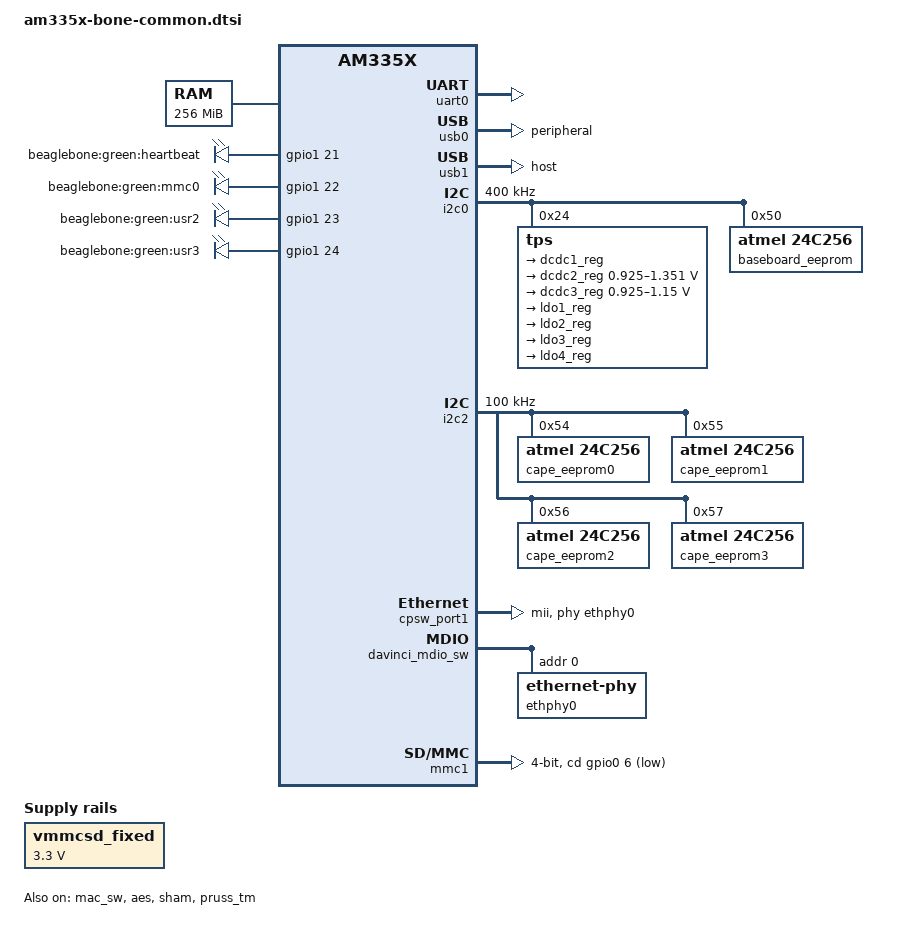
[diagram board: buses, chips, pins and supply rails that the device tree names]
// SPDX-License-Identifier: GPL-2.0-only
/*
 * Copyright (C) 2012 Texas Instruments Incorporated - https://www.ti.com/
 */

/ {
	cpus {
		cpu@0 {
			cpu0-supply = <&dcdc2_reg>;
		};
	};

	memory@80000000 {
		device_type = "memory";
		reg = <0x80000000 0x10000000>; /* 256 MB */
	};

	chosen {
		stdout-path = &uart0;
	};

	leds {
		pinctrl-names = "default";
		pinctrl-0 = <&user_leds_s0>;

		compatible = "gpio-leds";

		led2 {
			label = "beaglebone:green:heartbeat";
			gpios = <&gpio1 21 GPIO_ACTIVE_HIGH>;
			linux,default-trigger = "heartbeat";
			default-state = "off";
		};

		led3 {
			label = "beaglebone:green:mmc0";
			gpios = <&gpio1 22 GPIO_ACTIVE_HIGH>;
			linux,default-trigger = "mmc0";
			default-state = "off";
		};

		led4 {
			label = "beaglebone:green:usr2";
			gpios = <&gpio1 23 GPIO_ACTIVE_HIGH>;
			linux,default-trigger = "cpu0";
			default-state = "off";
		};

		led5 {
			label = "beaglebone:green:usr3";
			gpios = <&gpio1 24 GPIO_ACTIVE_HIGH>;
			linux,default-trigger = "mmc1";
			default-state = "off";
		};
	};

	vmmcsd_fixed: fixedregulator0 {
		compatible = "regulator-fixed";
		regulator-name = "vmmcsd_fixed";
		regulator-min-microvolt = <3300000>;
		regulator-max-microvolt = <3300000>;
	};
};

&am33xx_pinmux {
	pinctrl-names = "default";
	pinctrl-0 = <&clkout2_pin>;

	user_leds_s0: user_leds_s0 {
		pinctrl-single,pins = <
			AM33XX_PADCONF(AM335X_PIN_GPMC_A5, PIN_OUTPUT_PULLDOWN, MUX_MODE7)	/* gpmc_a5.gpio1_21 */
			AM33XX_PADCONF(AM335X_PIN_GPMC_A6, PIN_OUTPUT_PULLUP, MUX_MODE7)	/* gpmc_a6.gpio1_22 */
			AM33XX_PADCONF(AM335X_PIN_GPMC_A7, PIN_OUTPUT_PULLDOWN, MUX_MODE7)	/* gpmc_a7.gpio1_23 */
			AM33XX_PADCONF(AM335X_PIN_GPMC_A8, PIN_OUTPUT_PULLUP, MUX_MODE7)	/* gpmc_a8.gpio1_24 */
		>;
	};

	i2c0_pins: pinmux_i2c0_pins {
		pinctrl-single,pins = <
			AM33XX_PADCONF(AM335X_PIN_I2C0_SDA, PIN_INPUT_PULLUP, MUX_MODE0)	/* i2c0_sda.i2c0_sda */
			AM33XX_PADCONF(AM335X_PIN_I2C0_SCL, PIN_INPUT_PULLUP, MUX_MODE0)	/* i2c0_scl.i2c0_scl */
		>;
	};

	i2c2_pins: pinmux_i2c2_pins {
		pinctrl-single,pins = <
			AM33XX_PADCONF(AM335X_PIN_UART1_CTSN, PIN_INPUT_PULLUP, MUX_MODE3)	/* uart1_ctsn.i2c2_sda */
			AM33XX_PADCONF(AM335X_PIN_UART1_RTSN, PIN_INPUT_PULLUP, MUX_MODE3)	/* uart1_rtsn.i2c2_scl */
		>;
	};

	uart0_pins: pinmux_uart0_pins {
		pinctrl-single,pins = <
			AM33XX_PADCONF(AM335X_PIN_UART0_RXD, PIN_INPUT_PULLUP, MUX_MODE0)
			AM33XX_PADCONF(AM335X_PIN_UART0_TXD, PIN_OUTPUT_PULLDOWN, MUX_MODE0)
		>;
	};

	clkout2_pin: pinmux_clkout2_pin {
		pinctrl-single,pins = <
			AM33XX_PADCONF(AM335X_PIN_XDMA_EVENT_INTR1, PIN_OUTPUT_PULLDOWN, MUX_MODE3)	/* xdma_event_intr1.clkout2 */
		>;
	};

	cpsw_default: cpsw_default {
		pinctrl-single,pins = <
			/* Slave 1 */
			AM33XX_PADCONF(AM335X_PIN_MII1_RX_ER, PIN_INPUT_PULLUP, MUX_MODE0)
			AM33XX_PADCONF(AM335X_PIN_MII1_TX_EN, PIN_OUTPUT_PULLDOWN, MUX_MODE0)
			AM33XX_PADCONF(AM335X_PIN_MII1_RX_DV, PIN_INPUT_PULLUP, MUX_MODE0)
			AM33XX_PADCONF(AM335X_PIN_MII1_TXD3, PIN_OUTPUT_PULLDOWN, MUX_MODE0)
			AM33XX_PADCONF(AM335X_PIN_MII1_TXD2, PIN_OUTPUT_PULLDOWN, MUX_MODE0)
			AM33XX_PADCONF(AM335X_PIN_MII1_TXD1, PIN_OUTPUT_PULLDOWN, MUX_MODE0)
			AM33XX_PADCONF(AM335X_PIN_MII1_TXD0, PIN_OUTPUT_PULLDOWN, MUX_MODE0)
			AM33XX_PADCONF(AM335X_PIN_MII1_TX_CLK, PIN_INPUT_PULLUP, MUX_MODE0)
			AM33XX_PADCONF(AM335X_PIN_MII1_RX_CLK, PIN_INPUT_PULLUP, MUX_MODE0)
			AM33XX_PADCONF(AM335X_PIN_MII1_RXD3, PIN_INPUT_PULLUP, MUX_MODE0)
			AM33XX_PADCONF(AM335X_PIN_MII1_RXD2, PIN_INPUT_PULLUP, MUX_MODE0)
			AM33XX_PADCONF(AM335X_PIN_MII1_RXD1, PIN_INPUT_PULLUP, MUX_MODE0)
			AM33XX_PADCONF(AM335X_PIN_MII1_RXD0, PIN_INPUT_PULLUP, MUX_MODE0)
		>;
	};

	cpsw_sleep: cpsw_sleep {
		pinctrl-single,pins = <
			/* Slave 1 reset value */
			AM33XX_PADCONF(AM335X_PIN_MII1_RX_ER, PIN_INPUT_PULLDOWN, MUX_MODE7)
			AM33XX_PADCONF(AM335X_PIN_MII1_TX_EN, PIN_INPUT_PULLDOWN, MUX_MODE7)
			AM33XX_PADCONF(AM335X_PIN_MII1_RX_DV, PIN_INPUT_PULLDOWN, MUX_MODE7)
			AM33XX_PADCONF(AM335X_PIN_MII1_TXD3, PIN_INPUT_PULLDOWN, MUX_MODE7)
			AM33XX_PADCONF(AM335X_PIN_MII1_TXD2, PIN_INPUT_PULLDOWN, MUX_MODE7)
			AM33XX_PADCONF(AM335X_PIN_MII1_TXD1, PIN_INPUT_PULLDOWN, MUX_MODE7)
			AM33XX_PADCONF(AM335X_PIN_MII1_TXD0, PIN_INPUT_PULLDOWN, MUX_MODE7)
			AM33XX_PADCONF(AM335X_PIN_MII1_TX_CLK, PIN_INPUT_PULLDOWN, MUX_MODE7)
			AM33XX_PADCONF(AM335X_PIN_MII1_RX_CLK, PIN_INPUT_PULLDOWN, MUX_MODE7)
			AM33XX_PADCONF(AM335X_PIN_MII1_RXD3, PIN_INPUT_PULLDOWN, MUX_MODE7)
			AM33XX_PADCONF(AM335X_PIN_MII1_RXD2, PIN_INPUT_PULLDOWN, MUX_MODE7)
			AM33XX_PADCONF(AM335X_PIN_MII1_RXD1, PIN_INPUT_PULLDOWN, MUX_MODE7)
			AM33XX_PADCONF(AM335X_PIN_MII1_RXD0, PIN_INPUT_PULLDOWN, MUX_MODE7)
		>;
	};

	davinci_mdio_default: davinci_mdio_default {
		pinctrl-single,pins = <
			/* MDIO */
			AM33XX_PADCONF(AM335X_PIN_MDIO, PIN_INPUT_PULLUP | SLEWCTRL_FAST, MUX_MODE0)
			AM33XX_PADCONF(AM335X_PIN_MDC, PIN_OUTPUT_PULLUP, MUX_MODE0)
		>;
	};

	davinci_mdio_sleep: davinci_mdio_sleep {
		pinctrl-single,pins = <
			/* MDIO reset value */
			AM33XX_PADCONF(AM335X_PIN_MDIO, PIN_INPUT_PULLDOWN, MUX_MODE7)
			AM33XX_PADCONF(AM335X_PIN_MDC, PIN_INPUT_PULLDOWN, MUX_MODE7)
		>;
	};

	mmc1_pins: pinmux_mmc1_pins {
		pinctrl-single,pins = <
			AM33XX_PADCONF(AM335X_PIN_SPI0_CS1, PIN_INPUT, MUX_MODE7)		/* spio0_cs1.gpio0_6 */
			AM33XX_PADCONF(AM335X_PIN_MMC0_DAT0, PIN_INPUT_PULLUP, MUX_MODE0)
			AM33XX_PADCONF(AM335X_PIN_MMC0_DAT1, PIN_INPUT_PULLUP, MUX_MODE0)
			AM33XX_PADCONF(AM335X_PIN_MMC0_DAT2, PIN_INPUT_PULLUP, MUX_MODE0)
			AM33XX_PADCONF(AM335X_PIN_MMC0_DAT3, PIN_INPUT_PULLUP, MUX_MODE0)
			AM33XX_PADCONF(AM335X_PIN_MMC0_CMD, PIN_INPUT_PULLUP, MUX_MODE0)
			AM33XX_PADCONF(AM335X_PIN_MMC0_CLK, PIN_INPUT_PULLUP, MUX_MODE0)
		>;
	};

	emmc_pins: pinmux_emmc_pins {
		pinctrl-single,pins = <
			AM33XX_PADCONF(AM335X_PIN_GPMC_CSN1, PIN_INPUT_PULLUP, MUX_MODE2) /* gpmc_csn1.mmc1_clk */
			AM33XX_PADCONF(AM335X_PIN_GPMC_CSN2, PIN_INPUT_PULLUP, MUX_MODE2) /* gpmc_csn2.mmc1_cmd */
			AM33XX_PADCONF(AM335X_PIN_GPMC_AD0, PIN_INPUT_PULLUP, MUX_MODE1) /* gpmc_ad0.mmc1_dat0 */
			AM33XX_PADCONF(AM335X_PIN_GPMC_AD1, PIN_INPUT_PULLUP, MUX_MODE1) /* gpmc_ad1.mmc1_dat1 */
			AM33XX_PADCONF(AM335X_PIN_GPMC_AD2, PIN_INPUT_PULLUP, MUX_MODE1) /* gpmc_ad2.mmc1_dat2 */
			AM33XX_PADCONF(AM335X_PIN_GPMC_AD3, PIN_INPUT_PULLUP, MUX_MODE1) /* gpmc_ad3.mmc1_dat3 */
			AM33XX_PADCONF(AM335X_PIN_GPMC_AD4, PIN_INPUT_PULLUP, MUX_MODE1) /* gpmc_ad4.mmc1_dat4 */
			AM33XX_PADCONF(AM335X_PIN_GPMC_AD5, PIN_INPUT_PULLUP, MUX_MODE1) /* gpmc_ad5.mmc1_dat5 */
			AM33XX_PADCONF(AM335X_PIN_GPMC_AD6, PIN_INPUT_PULLUP, MUX_MODE1) /* gpmc_ad6.mmc1_dat6 */
			AM33XX_PADCONF(AM335X_PIN_GPMC_AD7, PIN_INPUT_PULLUP, MUX_MODE1) /* gpmc_ad7.mmc1_dat7 */
		>;
	};
};

&uart0 {
	pinctrl-names = "default";
	pinctrl-0 = <&uart0_pins>;

	status = "okay";
};

&usb0 {
	dr_mode = "peripheral";
	interrupts-extended = <&intc 18 &tps 0>;
	interrupt-names = "mc", "vbus";
};

&usb1 {
	dr_mode = "host";
};

&i2c0 {
	pinctrl-names = "default";
	pinctrl-0 = <&i2c0_pins>;

	status = "okay";
	clock-frequency = <400000>;

	tps: tps@24 {
		reg = <0x24>;
	};

	baseboard_eeprom: baseboard_eeprom@50 {
		compatible = "atmel,24c256";
		reg = <0x50>;

		#address-cells = <1>;
		#size-cells = <1>;
		baseboard_data: baseboard_data@0 {
			reg = <0 0x100>;
		};
	};
};

&i2c2 {
	pinctrl-names = "default";
	pinctrl-0 = <&i2c2_pins>;

	status = "okay";
	clock-frequency = <100000>;

	cape_eeprom0: cape_eeprom0@54 {
		compatible = "atmel,24c256";
		reg = <0x54>;
		#address-cells = <1>;
		#size-cells = <1>;
		cape0_data: cape_data@0 {
			reg = <0 0x100>;
		};
	};

	cape_eeprom1: cape_eeprom1@55 {
		compatible = "atmel,24c256";
		reg = <0x55>;
		#address-cells = <1>;
		#size-cells = <1>;
		cape1_data: cape_data@0 {
			reg = <0 0x100>;
		};
	};

	cape_eeprom2: cape_eeprom2@56 {
		compatible = "atmel,24c256";
		reg = <0x56>;
		#address-cells = <1>;
		#size-cells = <1>;
		cape2_data: cape_data@0 {
			reg = <0 0x100>;
		};
	};

	cape_eeprom3: cape_eeprom3@57 {
		compatible = "atmel,24c256";
		reg = <0x57>;
		#address-cells = <1>;
		#size-cells = <1>;
		cape3_data: cape_data@0 {
			reg = <0 0x100>;
		};
	};
};


/include/ "tps65217.dtsi"

&tps {
	/*
	 * Configure pmic to enter OFF-state instead of SLEEP-state ("RTC-only
	 * mode") at poweroff.  Most BeagleBone versions do not support RTC-only
	 * mode and risk hardware damage if this mode is entered.
	 *
	 * For details, see linux-omap mailing list May 2015 thread
	 *	[PATCH] ARM: dts: am335x-bone* enable pmic-shutdown-controller
	 * In particular, messages:
	 *	http://www.spinics.net/lists/linux-omap/msg118585.html
	 *	http://www.spinics.net/lists/linux-omap/msg118615.html
	 *
	 * You can override this later with
	 *	&tps {  /delete-property/ ti,pmic-shutdown-controller;  }
	 * if you want to use RTC-only mode and made sure you are not affected
	 * by the hardware problems. (Tip: double-check by performing a current
	 * measurement after shutdown: it should be less than 1 mA.)
	 */

	interrupts = <7>; /* NMI */
	interrupt-parent = <&intc>;

	ti,pmic-shutdown-controller;

	charger {
		status = "okay";
	};

	pwrbutton {
		status = "okay";
	};

	regulators {
		dcdc1_reg: regulator@0 {
			regulator-name = "vdds_dpr";
			regulator-always-on;
		};

		dcdc2_reg: regulator@1 {
			/* VDD_MPU voltage limits 0.95V - 1.26V with +/-4% tolerance */
			regulator-name = "vdd_mpu";
			regulator-min-microvolt = <925000>;
			regulator-max-microvolt = <1351500>;
			regulator-boot-on;
			regulator-always-on;
		};

		dcdc3_reg: regulator@2 {
			/* VDD_CORE voltage limits 0.95V - 1.1V with +/-4% tolerance */
			regulator-name = "vdd_core";
			regulator-min-microvolt = <925000>;
			regulator-max-microvolt = <1150000>;
			regulator-boot-on;
			regulator-always-on;
		};

		ldo1_reg: regulator@3 {
			regulator-name = "vio,vrtc,vdds";
			regulator-always-on;
		};

		ldo2_reg: regulator@4 {
			regulator-name = "vdd_3v3aux";
			regulator-always-on;
		};

		ldo3_reg: regulator@5 {
			regulator-name = "vdd_1v8";
			regulator-always-on;
		};

		ldo4_reg: regulator@6 {
			regulator-name = "vdd_3v3a";
			regulator-always-on;
		};
	};
};

&cpsw_port1 {
	phy-handle = <&ethphy0>;
	phy-mode = "mii";
	ti,dual-emac-pvid = <1>;
};

&cpsw_port2 {
	status = "disabled";
};

&mac_sw {
	pinctrl-names = "default", "sleep";
	pinctrl-0 = <&cpsw_default>;
	pinctrl-1 = <&cpsw_sleep>;
	status = "okay";
};

&davinci_mdio_sw {
	pinctrl-names = "default", "sleep";
	pinctrl-0 = <&davinci_mdio_default>;
	pinctrl-1 = <&davinci_mdio_sleep>;

	ethphy0: ethernet-phy@0 {
		reg = <0>;
	};
};

&mmc1 {
	status = "okay";
	bus-width = <0x4>;
	pinctrl-names = "default";
	pinctrl-0 = <&mmc1_pins>;
	cd-gpios = <&gpio0 6 GPIO_ACTIVE_LOW>;
};

&aes {
	status = "okay";
};

&sham {
	status = "okay";
};

&rtc {
	clocks = <&clk_32768_ck>, <&clk_24mhz_clkctrl AM3_CLK_24MHZ_CLKDIV32K_CLKCTRL 0>;
	clock-names = "ext-clk", "int-clk";
};

&pruss_tm {
	status = "okay";
};
